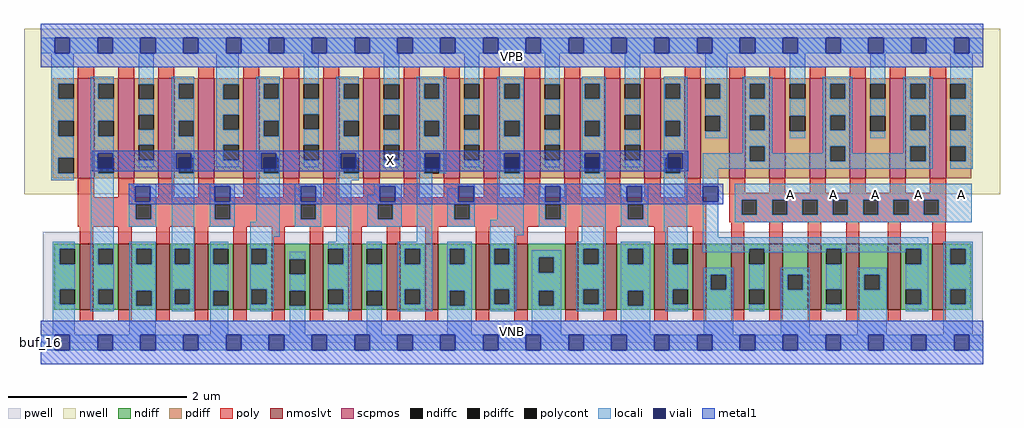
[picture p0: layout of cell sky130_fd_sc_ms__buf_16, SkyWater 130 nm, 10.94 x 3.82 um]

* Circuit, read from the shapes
.subckt sky130_fd_sc_ms__buf_16 A VGND VNB VPB VPWR X
XM1 X n1 VGND VNB sky130_fd_pr__nfet_01v8_lvt w=0.74 l=0.15 m=16
XM2 n1 A VGND VNB sky130_fd_pr__nfet_01v8_lvt w=0.74 l=0.15 m=6
XM3 X n1 VPWR VPB sky130_fd_pr__pfet_01v8 w=1.12 l=0.18 m=16
XM4 n1 A VPWR VPB sky130_fd_pr__pfet_01v8 w=1.12 l=0.18 m=6
.ends

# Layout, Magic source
magic
tech sky130A
magscale 1 2
<< nwell >>
rect -38 332 2150 704
<< pwell >>
rect 4 49 2111 248
rect 0 0 2112 49
<< scpmos >>
rect 83 368 119 592
rect 173 368 209 592
rect 263 368 299 592
rect 353 368 389 592
rect 453 368 489 592
rect 543 368 579 592
rect 633 368 669 592
rect 723 368 759 592
rect 813 368 849 592
rect 903 368 939 592
rect 993 368 1029 592
rect 1083 368 1119 592
rect 1173 368 1209 592
rect 1263 368 1299 592
rect 1353 368 1389 592
rect 1443 368 1479 592
rect 1543 368 1579 592
rect 1633 368 1669 592
rect 1723 368 1759 592
rect 1813 368 1849 592
rect 1903 368 1939 592
rect 1993 368 2029 592
<< nmoslvt >>
rect 87 74 117 222
rect 173 74 203 222
rect 259 74 289 222
rect 345 74 375 222
rect 431 74 461 222
rect 517 74 547 222
rect 603 74 633 222
rect 689 74 719 222
rect 775 74 805 222
rect 861 74 891 222
rect 975 74 1005 222
rect 1061 74 1091 222
rect 1175 74 1205 222
rect 1261 74 1291 222
rect 1375 74 1405 222
rect 1461 74 1491 222
rect 1547 74 1577 222
rect 1633 74 1663 222
rect 1719 74 1749 222
rect 1805 74 1835 222
rect 1898 74 1928 222
rect 1998 74 2028 222
<< ndiff >>
rect 30 210 87 222
rect 30 176 42 210
rect 76 176 87 210
rect 30 120 87 176
rect 30 86 42 120
rect 76 86 87 120
rect 30 74 87 86
rect 117 210 173 222
rect 117 176 128 210
rect 162 176 173 210
rect 117 120 173 176
rect 117 86 128 120
rect 162 86 173 120
rect 117 74 173 86
rect 203 210 259 222
rect 203 176 214 210
rect 248 176 259 210
rect 203 116 259 176
rect 203 82 214 116
rect 248 82 259 116
rect 203 74 259 82
rect 289 210 345 222
rect 289 176 300 210
rect 334 176 345 210
rect 289 120 345 176
rect 289 86 300 120
rect 334 86 345 120
rect 289 74 345 86
rect 375 210 431 222
rect 375 176 386 210
rect 420 176 431 210
rect 375 116 431 176
rect 375 82 386 116
rect 420 82 431 116
rect 375 74 431 82
rect 461 210 517 222
rect 461 176 472 210
rect 506 176 517 210
rect 461 120 517 176
rect 461 86 472 120
rect 506 86 517 120
rect 461 74 517 86
rect 547 187 603 222
rect 547 153 558 187
rect 592 153 603 187
rect 547 116 603 153
rect 547 82 558 116
rect 592 82 603 116
rect 547 74 603 82
rect 633 210 689 222
rect 633 176 644 210
rect 678 176 689 210
rect 633 120 689 176
rect 633 86 644 120
rect 678 86 689 120
rect 633 74 689 86
rect 719 210 775 222
rect 719 176 730 210
rect 764 176 775 210
rect 719 116 775 176
rect 719 82 730 116
rect 764 82 775 116
rect 719 74 775 82
rect 805 210 861 222
rect 805 176 816 210
rect 850 176 861 210
rect 805 120 861 176
rect 805 86 816 120
rect 850 86 861 120
rect 805 74 861 86
rect 891 210 975 222
rect 891 176 916 210
rect 950 176 975 210
rect 891 116 975 176
rect 891 82 916 116
rect 950 82 975 116
rect 891 74 975 82
rect 1005 210 1061 222
rect 1005 176 1016 210
rect 1050 176 1061 210
rect 1005 120 1061 176
rect 1005 86 1016 120
rect 1050 86 1061 120
rect 1005 74 1061 86
rect 1091 191 1175 222
rect 1091 157 1116 191
rect 1150 157 1175 191
rect 1091 116 1175 157
rect 1091 82 1116 116
rect 1150 82 1175 116
rect 1091 74 1175 82
rect 1205 210 1261 222
rect 1205 176 1216 210
rect 1250 176 1261 210
rect 1205 120 1261 176
rect 1205 86 1216 120
rect 1250 86 1261 120
rect 1205 74 1261 86
rect 1291 210 1375 222
rect 1291 176 1316 210
rect 1350 176 1375 210
rect 1291 116 1375 176
rect 1291 82 1316 116
rect 1350 82 1375 116
rect 1291 74 1375 82
rect 1405 210 1461 222
rect 1405 176 1416 210
rect 1450 176 1461 210
rect 1405 120 1461 176
rect 1405 86 1416 120
rect 1450 86 1461 120
rect 1405 74 1461 86
rect 1491 152 1547 222
rect 1491 118 1502 152
rect 1536 118 1547 152
rect 1491 74 1547 118
rect 1577 210 1633 222
rect 1577 176 1588 210
rect 1622 176 1633 210
rect 1577 120 1633 176
rect 1577 86 1588 120
rect 1622 86 1633 120
rect 1577 74 1633 86
rect 1663 152 1719 222
rect 1663 118 1674 152
rect 1708 118 1719 152
rect 1663 74 1719 118
rect 1749 210 1805 222
rect 1749 176 1760 210
rect 1794 176 1805 210
rect 1749 120 1805 176
rect 1749 86 1760 120
rect 1794 86 1805 120
rect 1749 74 1805 86
rect 1835 152 1898 222
rect 1835 118 1846 152
rect 1880 118 1898 152
rect 1835 74 1898 118
rect 1928 210 1998 222
rect 1928 176 1939 210
rect 1973 176 1998 210
rect 1928 120 1998 176
rect 1928 86 1939 120
rect 1973 86 1998 120
rect 1928 74 1998 86
rect 2028 210 2085 222
rect 2028 176 2039 210
rect 2073 176 2085 210
rect 2028 120 2085 176
rect 2028 86 2039 120
rect 2073 86 2085 120
rect 2028 74 2085 86
<< pdiff >>
rect 27 580 83 592
rect 27 546 39 580
rect 73 546 83 580
rect 27 497 83 546
rect 27 463 39 497
rect 73 463 83 497
rect 27 414 83 463
rect 27 380 39 414
rect 73 380 83 414
rect 27 368 83 380
rect 119 580 173 592
rect 119 546 129 580
rect 163 546 173 580
rect 119 497 173 546
rect 119 463 129 497
rect 163 463 173 497
rect 119 414 173 463
rect 119 380 129 414
rect 163 380 173 414
rect 119 368 173 380
rect 209 579 263 592
rect 209 545 219 579
rect 253 545 263 579
rect 209 511 263 545
rect 209 477 219 511
rect 253 477 263 511
rect 209 443 263 477
rect 209 409 219 443
rect 253 409 263 443
rect 209 368 263 409
rect 299 580 353 592
rect 299 546 309 580
rect 343 546 353 580
rect 299 497 353 546
rect 299 463 309 497
rect 343 463 353 497
rect 299 414 353 463
rect 299 380 309 414
rect 343 380 353 414
rect 299 368 353 380
rect 389 579 453 592
rect 389 545 409 579
rect 443 545 453 579
rect 389 511 453 545
rect 389 477 409 511
rect 443 477 453 511
rect 389 443 453 477
rect 389 409 409 443
rect 443 409 453 443
rect 389 368 453 409
rect 489 580 543 592
rect 489 546 499 580
rect 533 546 543 580
rect 489 497 543 546
rect 489 463 499 497
rect 533 463 543 497
rect 489 414 543 463
rect 489 380 499 414
rect 533 380 543 414
rect 489 368 543 380
rect 579 580 633 592
rect 579 546 589 580
rect 623 546 633 580
rect 579 512 633 546
rect 579 478 589 512
rect 623 478 633 512
rect 579 443 633 478
rect 579 409 589 443
rect 623 409 633 443
rect 579 368 633 409
rect 669 580 723 592
rect 669 546 679 580
rect 713 546 723 580
rect 669 497 723 546
rect 669 463 679 497
rect 713 463 723 497
rect 669 414 723 463
rect 669 380 679 414
rect 713 380 723 414
rect 669 368 723 380
rect 759 579 813 592
rect 759 545 769 579
rect 803 545 813 579
rect 759 511 813 545
rect 759 477 769 511
rect 803 477 813 511
rect 759 443 813 477
rect 759 409 769 443
rect 803 409 813 443
rect 759 368 813 409
rect 849 580 903 592
rect 849 546 859 580
rect 893 546 903 580
rect 849 497 903 546
rect 849 463 859 497
rect 893 463 903 497
rect 849 414 903 463
rect 849 380 859 414
rect 893 380 903 414
rect 849 368 903 380
rect 939 580 993 592
rect 939 546 949 580
rect 983 546 993 580
rect 939 511 993 546
rect 939 477 949 511
rect 983 477 993 511
rect 939 443 993 477
rect 939 409 949 443
rect 983 409 993 443
rect 939 368 993 409
rect 1029 580 1083 592
rect 1029 546 1039 580
rect 1073 546 1083 580
rect 1029 497 1083 546
rect 1029 463 1039 497
rect 1073 463 1083 497
rect 1029 414 1083 463
rect 1029 380 1039 414
rect 1073 380 1083 414
rect 1029 368 1083 380
rect 1119 579 1173 592
rect 1119 545 1129 579
rect 1163 545 1173 579
rect 1119 511 1173 545
rect 1119 477 1129 511
rect 1163 477 1173 511
rect 1119 443 1173 477
rect 1119 409 1129 443
rect 1163 409 1173 443
rect 1119 368 1173 409
rect 1209 580 1263 592
rect 1209 546 1219 580
rect 1253 546 1263 580
rect 1209 497 1263 546
rect 1209 463 1219 497
rect 1253 463 1263 497
rect 1209 414 1263 463
rect 1209 380 1219 414
rect 1253 380 1263 414
rect 1209 368 1263 380
rect 1299 580 1353 592
rect 1299 546 1309 580
rect 1343 546 1353 580
rect 1299 511 1353 546
rect 1299 477 1309 511
rect 1343 477 1353 511
rect 1299 443 1353 477
rect 1299 409 1309 443
rect 1343 409 1353 443
rect 1299 368 1353 409
rect 1389 580 1443 592
rect 1389 546 1399 580
rect 1433 546 1443 580
rect 1389 497 1443 546
rect 1389 463 1399 497
rect 1433 463 1443 497
rect 1389 414 1443 463
rect 1389 380 1399 414
rect 1433 380 1443 414
rect 1389 368 1443 380
rect 1479 580 1543 592
rect 1479 546 1489 580
rect 1523 546 1543 580
rect 1479 508 1543 546
rect 1479 474 1489 508
rect 1523 474 1543 508
rect 1479 368 1543 474
rect 1579 580 1633 592
rect 1579 546 1589 580
rect 1623 546 1633 580
rect 1579 510 1633 546
rect 1579 476 1589 510
rect 1623 476 1633 510
rect 1579 440 1633 476
rect 1579 406 1589 440
rect 1623 406 1633 440
rect 1579 368 1633 406
rect 1669 580 1723 592
rect 1669 546 1679 580
rect 1713 546 1723 580
rect 1669 508 1723 546
rect 1669 474 1679 508
rect 1713 474 1723 508
rect 1669 368 1723 474
rect 1759 580 1813 592
rect 1759 546 1769 580
rect 1803 546 1813 580
rect 1759 510 1813 546
rect 1759 476 1769 510
rect 1803 476 1813 510
rect 1759 440 1813 476
rect 1759 406 1769 440
rect 1803 406 1813 440
rect 1759 368 1813 406
rect 1849 580 1903 592
rect 1849 546 1859 580
rect 1893 546 1903 580
rect 1849 508 1903 546
rect 1849 474 1859 508
rect 1893 474 1903 508
rect 1849 368 1903 474
rect 1939 580 1993 592
rect 1939 546 1949 580
rect 1983 546 1993 580
rect 1939 510 1993 546
rect 1939 476 1949 510
rect 1983 476 1993 510
rect 1939 440 1993 476
rect 1939 406 1949 440
rect 1983 406 1993 440
rect 1939 368 1993 406
rect 2029 580 2085 592
rect 2029 546 2039 580
rect 2073 546 2085 580
rect 2029 510 2085 546
rect 2029 476 2039 510
rect 2073 476 2085 510
rect 2029 440 2085 476
rect 2029 406 2039 440
rect 2073 406 2085 440
rect 2029 368 2085 406
<< ndiffc >>
rect 42 176 76 210
rect 42 86 76 120
rect 128 176 162 210
rect 128 86 162 120
rect 214 176 248 210
rect 214 82 248 116
rect 300 176 334 210
rect 300 86 334 120
rect 386 176 420 210
rect 386 82 420 116
rect 472 176 506 210
rect 472 86 506 120
rect 558 153 592 187
rect 558 82 592 116
rect 644 176 678 210
rect 644 86 678 120
rect 730 176 764 210
rect 730 82 764 116
rect 816 176 850 210
rect 816 86 850 120
rect 916 176 950 210
rect 916 82 950 116
rect 1016 176 1050 210
rect 1016 86 1050 120
rect 1116 157 1150 191
rect 1116 82 1150 116
rect 1216 176 1250 210
rect 1216 86 1250 120
rect 1316 176 1350 210
rect 1316 82 1350 116
rect 1416 176 1450 210
rect 1416 86 1450 120
rect 1502 118 1536 152
rect 1588 176 1622 210
rect 1588 86 1622 120
rect 1674 118 1708 152
rect 1760 176 1794 210
rect 1760 86 1794 120
rect 1846 118 1880 152
rect 1939 176 1973 210
rect 1939 86 1973 120
rect 2039 176 2073 210
rect 2039 86 2073 120
<< pdiffc >>
rect 39 546 73 580
rect 39 463 73 497
rect 39 380 73 414
rect 129 546 163 580
rect 129 463 163 497
rect 129 380 163 414
rect 219 545 253 579
rect 219 477 253 511
rect 219 409 253 443
rect 309 546 343 580
rect 309 463 343 497
rect 309 380 343 414
rect 409 545 443 579
rect 409 477 443 511
rect 409 409 443 443
rect 499 546 533 580
rect 499 463 533 497
rect 499 380 533 414
rect 589 546 623 580
rect 589 478 623 512
rect 589 409 623 443
rect 679 546 713 580
rect 679 463 713 497
rect 679 380 713 414
rect 769 545 803 579
rect 769 477 803 511
rect 769 409 803 443
rect 859 546 893 580
rect 859 463 893 497
rect 859 380 893 414
rect 949 546 983 580
rect 949 477 983 511
rect 949 409 983 443
rect 1039 546 1073 580
rect 1039 463 1073 497
rect 1039 380 1073 414
rect 1129 545 1163 579
rect 1129 477 1163 511
rect 1129 409 1163 443
rect 1219 546 1253 580
rect 1219 463 1253 497
rect 1219 380 1253 414
rect 1309 546 1343 580
rect 1309 477 1343 511
rect 1309 409 1343 443
rect 1399 546 1433 580
rect 1399 463 1433 497
rect 1399 380 1433 414
rect 1489 546 1523 580
rect 1489 474 1523 508
rect 1589 546 1623 580
rect 1589 476 1623 510
rect 1589 406 1623 440
rect 1679 546 1713 580
rect 1679 474 1713 508
rect 1769 546 1803 580
rect 1769 476 1803 510
rect 1769 406 1803 440
rect 1859 546 1893 580
rect 1859 474 1893 508
rect 1949 546 1983 580
rect 1949 476 1983 510
rect 1949 406 1983 440
rect 2039 546 2073 580
rect 2039 476 2073 510
rect 2039 406 2073 440
<< poly >>
rect 83 592 119 618
rect 173 592 209 618
rect 263 592 299 618
rect 353 592 389 618
rect 453 592 489 618
rect 543 592 579 618
rect 633 592 669 618
rect 723 592 759 618
rect 813 592 849 618
rect 903 592 939 618
rect 993 592 1029 618
rect 1083 592 1119 618
rect 1173 592 1209 618
rect 1263 592 1299 618
rect 1353 592 1389 618
rect 1443 592 1479 618
rect 1543 592 1579 618
rect 1633 592 1669 618
rect 1723 592 1759 618
rect 1813 592 1849 618
rect 1903 592 1939 618
rect 1993 592 2029 618
rect 83 326 119 368
rect 173 326 209 368
rect 263 326 299 368
rect 353 326 389 368
rect 453 326 489 368
rect 543 326 579 368
rect 633 326 669 368
rect 723 326 759 368
rect 813 326 849 368
rect 903 326 939 368
rect 993 326 1029 368
rect 1083 326 1119 368
rect 1173 326 1209 368
rect 1263 326 1299 368
rect 1353 326 1389 368
rect 1443 326 1479 368
rect 1543 336 1579 368
rect 1633 336 1669 368
rect 1723 336 1759 368
rect 1813 336 1849 368
rect 1903 336 1939 368
rect 1993 336 2029 368
rect 83 310 1491 326
rect 83 276 213 310
rect 247 276 390 310
rect 424 276 582 310
rect 616 276 755 310
rect 789 276 927 310
rect 961 276 1131 310
rect 1165 276 1316 310
rect 1350 276 1491 310
rect 83 260 1491 276
rect 1543 320 2029 336
rect 1543 286 1571 320
rect 1605 286 1639 320
rect 1673 286 1707 320
rect 1741 286 1775 320
rect 1809 286 1843 320
rect 1877 286 1911 320
rect 1945 286 1979 320
rect 2013 286 2029 320
rect 1543 270 2029 286
rect 87 222 117 260
rect 173 222 203 260
rect 259 222 289 260
rect 345 222 375 260
rect 431 222 461 260
rect 517 222 547 260
rect 603 222 633 260
rect 689 222 719 260
rect 775 222 805 260
rect 861 222 891 260
rect 975 222 1005 260
rect 1061 222 1091 260
rect 1175 222 1205 260
rect 1261 222 1291 260
rect 1375 222 1405 260
rect 1461 222 1491 260
rect 1547 222 1577 270
rect 1633 222 1663 270
rect 1719 222 1749 270
rect 1805 222 1835 270
rect 1898 222 1928 270
rect 1998 222 2028 270
rect 87 48 117 74
rect 173 48 203 74
rect 259 48 289 74
rect 345 48 375 74
rect 431 48 461 74
rect 517 48 547 74
rect 603 48 633 74
rect 689 48 719 74
rect 775 48 805 74
rect 861 48 891 74
rect 975 48 1005 74
rect 1061 48 1091 74
rect 1175 48 1205 74
rect 1261 48 1291 74
rect 1375 48 1405 74
rect 1461 48 1491 74
rect 1547 48 1577 74
rect 1633 48 1663 74
rect 1719 48 1749 74
rect 1805 48 1835 74
rect 1898 48 1928 74
rect 1998 48 2028 74
<< polycont >>
rect 213 276 247 310
rect 390 276 424 310
rect 582 276 616 310
rect 755 276 789 310
rect 927 276 961 310
rect 1131 276 1165 310
rect 1316 276 1350 310
rect 1571 286 1605 320
rect 1639 286 1673 320
rect 1707 286 1741 320
rect 1775 286 1809 320
rect 1843 286 1877 320
rect 1911 286 1945 320
rect 1979 286 2013 320
<< locali >>
rect 0 649 31 683
rect 65 649 127 683
rect 161 649 223 683
rect 257 649 319 683
rect 353 649 415 683
rect 449 649 511 683
rect 545 649 607 683
rect 641 649 703 683
rect 737 649 799 683
rect 833 649 895 683
rect 929 649 991 683
rect 1025 649 1087 683
rect 1121 649 1183 683
rect 1217 649 1279 683
rect 1313 649 1375 683
rect 1409 649 1471 683
rect 1505 649 1567 683
rect 1601 649 1663 683
rect 1697 649 1759 683
rect 1793 649 1855 683
rect 1889 649 1951 683
rect 1985 649 2047 683
rect 2081 649 2112 683
rect 23 580 73 649
rect 23 546 39 580
rect 23 497 73 546
rect 23 463 39 497
rect 23 414 73 463
rect 23 380 39 414
rect 23 364 73 380
rect 112 580 163 596
rect 112 546 129 580
rect 112 497 163 546
rect 112 463 129 497
rect 112 424 163 463
rect 112 390 127 424
rect 161 414 163 424
rect 219 579 253 649
rect 219 511 253 545
rect 219 443 253 477
rect 219 393 253 409
rect 293 580 344 596
rect 293 546 309 580
rect 343 546 344 580
rect 293 497 344 546
rect 293 463 309 497
rect 343 463 344 497
rect 293 424 344 463
rect 112 380 129 390
rect 26 210 76 226
rect 26 176 42 210
rect 26 120 76 176
rect 26 86 42 120
rect 26 17 76 86
rect 112 210 163 380
rect 293 390 303 424
rect 337 414 344 424
rect 293 380 309 390
rect 343 380 344 414
rect 393 579 443 649
rect 393 545 409 579
rect 393 511 443 545
rect 393 477 409 511
rect 393 443 443 477
rect 393 409 409 443
rect 393 393 443 409
rect 483 580 535 596
rect 483 546 499 580
rect 533 546 535 580
rect 483 497 535 546
rect 483 463 499 497
rect 533 463 535 497
rect 483 424 535 463
rect 197 350 259 356
rect 197 316 211 350
rect 245 316 259 350
rect 197 310 259 316
rect 197 276 213 310
rect 247 276 259 310
rect 197 260 259 276
rect 112 176 128 210
rect 162 176 163 210
rect 112 120 163 176
rect 112 86 128 120
rect 162 86 163 120
rect 112 70 163 86
rect 198 210 257 226
rect 198 176 214 210
rect 248 176 257 210
rect 198 116 257 176
rect 198 82 214 116
rect 248 82 257 116
rect 198 17 257 82
rect 293 210 344 380
rect 483 390 494 424
rect 528 414 535 424
rect 483 380 499 390
rect 533 380 535 414
rect 589 580 623 649
rect 589 512 623 546
rect 589 443 623 478
rect 589 393 623 409
rect 662 580 713 596
rect 662 546 679 580
rect 662 497 713 546
rect 662 463 679 497
rect 662 424 713 463
rect 378 350 435 356
rect 378 316 390 350
rect 424 316 435 350
rect 378 310 435 316
rect 378 276 390 310
rect 424 276 435 310
rect 378 260 435 276
rect 483 271 535 380
rect 662 390 672 424
rect 706 414 713 424
rect 769 579 803 649
rect 769 511 803 545
rect 769 443 803 477
rect 769 393 803 409
rect 843 580 909 596
rect 843 546 859 580
rect 893 546 909 580
rect 843 497 909 546
rect 843 463 859 497
rect 893 463 909 497
rect 843 424 909 463
rect 843 414 860 424
rect 662 380 679 390
rect 662 364 713 380
rect 843 380 859 414
rect 894 390 909 424
rect 949 580 983 649
rect 949 511 983 546
rect 949 443 983 477
rect 949 393 983 409
rect 1023 580 1082 596
rect 1023 546 1039 580
rect 1073 546 1082 580
rect 1023 497 1082 546
rect 1023 463 1039 497
rect 1073 463 1082 497
rect 1023 424 1082 463
rect 893 380 909 390
rect 1023 380 1039 424
rect 1073 380 1082 424
rect 1129 579 1163 649
rect 1129 511 1163 545
rect 1129 443 1163 477
rect 1129 393 1163 409
rect 1212 580 1266 596
rect 1212 546 1219 580
rect 1253 546 1266 580
rect 1212 497 1266 546
rect 1212 463 1219 497
rect 1253 463 1266 497
rect 1212 424 1266 463
rect 469 237 535 271
rect 569 350 628 356
rect 569 316 582 350
rect 616 316 628 350
rect 569 310 628 316
rect 569 276 582 310
rect 616 276 628 310
rect 569 260 628 276
rect 293 176 300 210
rect 334 176 344 210
rect 293 120 344 176
rect 293 86 300 120
rect 334 86 344 120
rect 293 70 344 86
rect 379 210 420 226
rect 379 176 386 210
rect 379 116 420 176
rect 379 82 386 116
rect 379 17 420 82
rect 469 210 522 237
rect 662 226 696 364
rect 747 350 809 356
rect 747 331 760 350
rect 731 316 760 331
rect 794 316 809 350
rect 731 310 809 316
rect 731 276 755 310
rect 789 276 809 310
rect 731 260 809 276
rect 843 226 877 380
rect 935 350 973 356
rect 935 346 936 350
rect 911 316 936 346
rect 970 316 973 350
rect 911 310 973 316
rect 911 276 927 310
rect 961 276 973 310
rect 911 260 973 276
rect 1023 275 1082 380
rect 1212 380 1219 424
rect 1253 380 1266 424
rect 1309 580 1343 649
rect 1309 511 1343 546
rect 1309 443 1343 477
rect 1309 393 1343 409
rect 1396 580 1449 596
rect 1396 546 1399 580
rect 1433 546 1449 580
rect 1396 497 1449 546
rect 1396 463 1399 497
rect 1433 463 1449 497
rect 1396 424 1449 463
rect 1489 580 1539 649
rect 1523 546 1539 580
rect 1489 508 1539 546
rect 1523 474 1539 508
rect 1489 458 1539 474
rect 1573 580 1639 596
rect 1573 546 1589 580
rect 1623 546 1639 580
rect 1573 510 1639 546
rect 1573 476 1589 510
rect 1623 476 1639 510
rect 1573 440 1639 476
rect 1679 580 1713 649
rect 1679 508 1713 546
rect 1679 458 1713 474
rect 1753 580 1819 596
rect 1753 546 1769 580
rect 1803 546 1819 580
rect 1753 510 1819 546
rect 1753 476 1769 510
rect 1803 476 1819 510
rect 1573 424 1589 440
rect 1396 414 1405 424
rect 1007 241 1082 275
rect 1116 350 1178 356
rect 1116 316 1130 350
rect 1164 316 1178 350
rect 1116 310 1178 316
rect 1116 276 1131 310
rect 1165 276 1178 310
rect 1116 260 1178 276
rect 469 176 472 210
rect 506 176 522 210
rect 644 210 696 226
rect 469 120 522 176
rect 469 86 472 120
rect 506 86 522 120
rect 469 70 522 86
rect 558 187 592 203
rect 558 116 592 153
rect 558 17 592 82
rect 678 176 696 210
rect 644 120 696 176
rect 678 86 696 120
rect 644 70 696 86
rect 730 210 764 226
rect 730 116 764 176
rect 730 17 764 82
rect 800 210 877 226
rect 800 176 816 210
rect 850 176 877 210
rect 800 120 877 176
rect 800 86 816 120
rect 850 86 877 120
rect 800 70 877 86
rect 911 210 966 226
rect 911 176 916 210
rect 950 176 966 210
rect 911 116 966 176
rect 911 82 916 116
rect 950 82 966 116
rect 911 17 966 82
rect 1007 210 1066 241
rect 1212 226 1266 380
rect 1396 380 1399 414
rect 1439 390 1449 424
rect 1433 380 1449 390
rect 1300 350 1362 356
rect 1300 316 1313 350
rect 1347 316 1362 350
rect 1300 310 1362 316
rect 1300 276 1316 310
rect 1350 276 1362 310
rect 1300 260 1362 276
rect 1396 250 1449 380
rect 1484 406 1589 424
rect 1623 424 1639 440
rect 1753 440 1819 476
rect 1859 580 1893 649
rect 1859 508 1893 546
rect 1859 458 1893 474
rect 1933 580 1999 596
rect 1933 546 1949 580
rect 1983 546 1999 580
rect 1933 510 1999 546
rect 1933 476 1949 510
rect 1983 476 1999 510
rect 1753 424 1769 440
rect 1623 406 1769 424
rect 1803 424 1819 440
rect 1933 440 1999 476
rect 1933 424 1949 440
rect 1803 406 1949 424
rect 1983 406 1999 440
rect 1484 390 1999 406
rect 2039 580 2089 649
rect 2073 546 2089 580
rect 2039 510 2089 546
rect 2073 476 2089 510
rect 2039 440 2089 476
rect 2073 406 2089 440
rect 2039 390 2089 406
rect 1484 350 1518 390
rect 1007 176 1016 210
rect 1050 176 1066 210
rect 1200 210 1266 226
rect 1007 120 1066 176
rect 1007 86 1016 120
rect 1050 86 1066 120
rect 1007 70 1066 86
rect 1100 191 1166 207
rect 1100 157 1116 191
rect 1150 157 1166 191
rect 1100 116 1166 157
rect 1100 82 1116 116
rect 1150 82 1166 116
rect 1100 17 1166 82
rect 1200 176 1216 210
rect 1250 176 1266 210
rect 1200 120 1266 176
rect 1200 86 1216 120
rect 1250 86 1266 120
rect 1200 70 1266 86
rect 1300 210 1366 226
rect 1300 176 1316 210
rect 1350 176 1366 210
rect 1300 116 1366 176
rect 1300 82 1316 116
rect 1350 82 1366 116
rect 1300 17 1366 82
rect 1400 210 1450 250
rect 1400 176 1416 210
rect 1484 236 1518 316
rect 1555 320 2087 356
rect 1555 286 1571 320
rect 1605 286 1639 320
rect 1673 286 1707 320
rect 1741 286 1775 320
rect 1809 286 1843 320
rect 1877 286 1911 320
rect 1945 286 1979 320
rect 2013 286 2087 320
rect 1555 270 2087 286
rect 1484 210 1989 236
rect 1484 202 1588 210
rect 1400 120 1450 176
rect 1622 202 1760 210
rect 1400 86 1416 120
rect 1400 70 1450 86
rect 1486 152 1552 168
rect 1486 118 1502 152
rect 1536 118 1552 152
rect 1486 17 1552 118
rect 1588 120 1622 176
rect 1794 202 1939 210
rect 1588 70 1622 86
rect 1658 152 1724 168
rect 1658 118 1674 152
rect 1708 118 1724 152
rect 1658 17 1724 118
rect 1760 120 1794 176
rect 1973 176 1989 210
rect 1760 70 1794 86
rect 1830 152 1896 168
rect 1830 118 1846 152
rect 1880 118 1896 152
rect 1830 17 1896 118
rect 1939 120 1989 176
rect 1973 86 1989 120
rect 1939 70 1989 86
rect 2023 210 2089 226
rect 2023 176 2039 210
rect 2073 176 2089 210
rect 2023 120 2089 176
rect 2023 86 2039 120
rect 2073 86 2089 120
rect 2023 17 2089 86
rect 0 -17 31 17
rect 65 -17 127 17
rect 161 -17 223 17
rect 257 -17 319 17
rect 353 -17 415 17
rect 449 -17 511 17
rect 545 -17 607 17
rect 641 -17 703 17
rect 737 -17 799 17
rect 833 -17 895 17
rect 929 -17 991 17
rect 1025 -17 1087 17
rect 1121 -17 1183 17
rect 1217 -17 1279 17
rect 1313 -17 1375 17
rect 1409 -17 1471 17
rect 1505 -17 1567 17
rect 1601 -17 1663 17
rect 1697 -17 1759 17
rect 1793 -17 1855 17
rect 1889 -17 1951 17
rect 1985 -17 2047 17
rect 2081 -17 2112 17
<< viali >>
rect 31 649 65 683
rect 127 649 161 683
rect 223 649 257 683
rect 319 649 353 683
rect 415 649 449 683
rect 511 649 545 683
rect 607 649 641 683
rect 703 649 737 683
rect 799 649 833 683
rect 895 649 929 683
rect 991 649 1025 683
rect 1087 649 1121 683
rect 1183 649 1217 683
rect 1279 649 1313 683
rect 1375 649 1409 683
rect 1471 649 1505 683
rect 1567 649 1601 683
rect 1663 649 1697 683
rect 1759 649 1793 683
rect 1855 649 1889 683
rect 1951 649 1985 683
rect 2047 649 2081 683
rect 127 414 161 424
rect 127 390 129 414
rect 129 390 161 414
rect 303 414 337 424
rect 303 390 309 414
rect 309 390 337 414
rect 211 316 245 350
rect 494 414 528 424
rect 494 390 499 414
rect 499 390 528 414
rect 390 316 424 350
rect 672 414 706 424
rect 672 390 679 414
rect 679 390 706 414
rect 860 414 894 424
rect 860 390 893 414
rect 893 390 894 414
rect 1039 414 1073 424
rect 1039 390 1073 414
rect 582 316 616 350
rect 760 316 794 350
rect 936 316 970 350
rect 1219 414 1253 424
rect 1219 390 1253 414
rect 1405 414 1439 424
rect 1130 316 1164 350
rect 1405 390 1433 414
rect 1433 390 1439 414
rect 1313 316 1347 350
rect 1484 316 1518 350
rect 31 -17 65 17
rect 127 -17 161 17
rect 223 -17 257 17
rect 319 -17 353 17
rect 415 -17 449 17
rect 511 -17 545 17
rect 607 -17 641 17
rect 703 -17 737 17
rect 799 -17 833 17
rect 895 -17 929 17
rect 991 -17 1025 17
rect 1087 -17 1121 17
rect 1183 -17 1217 17
rect 1279 -17 1313 17
rect 1375 -17 1409 17
rect 1471 -17 1505 17
rect 1567 -17 1601 17
rect 1663 -17 1697 17
rect 1759 -17 1793 17
rect 1855 -17 1889 17
rect 1951 -17 1985 17
rect 2047 -17 2081 17
<< metal1 >>
rect 0 683 2112 715
rect 0 649 31 683
rect 65 649 127 683
rect 161 649 223 683
rect 257 649 319 683
rect 353 649 415 683
rect 449 649 511 683
rect 545 649 607 683
rect 641 649 703 683
rect 737 649 799 683
rect 833 649 895 683
rect 929 649 991 683
rect 1025 649 1087 683
rect 1121 649 1183 683
rect 1217 649 1279 683
rect 1313 649 1375 683
rect 1409 649 1471 683
rect 1505 649 1567 683
rect 1601 649 1663 683
rect 1697 649 1759 683
rect 1793 649 1855 683
rect 1889 649 1951 683
rect 1985 649 2047 683
rect 2081 649 2112 683
rect 0 617 2112 649
rect 115 424 1451 430
rect 115 390 127 424
rect 161 390 303 424
rect 337 390 494 424
rect 528 390 672 424
rect 706 390 860 424
rect 894 390 1039 424
rect 1073 390 1219 424
rect 1253 390 1405 424
rect 1439 390 1451 424
rect 115 384 1451 390
rect 197 350 1530 356
rect 197 316 211 350
rect 245 316 390 350
rect 424 316 582 350
rect 616 316 760 350
rect 794 316 936 350
rect 970 316 1130 350
rect 1164 316 1313 350
rect 1347 316 1484 350
rect 1518 316 1530 350
rect 197 310 1530 316
rect 0 17 2112 49
rect 0 -17 31 17
rect 65 -17 127 17
rect 161 -17 223 17
rect 257 -17 319 17
rect 353 -17 415 17
rect 449 -17 511 17
rect 545 -17 607 17
rect 641 -17 703 17
rect 737 -17 799 17
rect 833 -17 895 17
rect 929 -17 991 17
rect 1025 -17 1087 17
rect 1121 -17 1183 17
rect 1217 -17 1279 17
rect 1313 -17 1375 17
rect 1409 -17 1471 17
rect 1505 -17 1567 17
rect 1601 -17 1663 17
rect 1697 -17 1759 17
rect 1793 -17 1855 17
rect 1889 -17 1951 17
rect 1985 -17 2047 17
rect 2081 -17 2112 17
rect 0 -49 2112 -17
<< labels >>
flabel pwell s 0 0 2112 49 0 FreeSans 200 0 0 0 VNB
port 3 nsew ground bidirectional
flabel nwell s 0 617 2112 666 0 FreeSans 200 0 0 0 VPB
port 4 nsew power bidirectional
rlabel comment s 0 0 0 0 4 buf_16
flabel metal1 s 115 384 1451 430 0 FreeSans 400 0 0 0 X
port 6 nsew signal output
flabel metal1 s 0 617 2112 666 0 FreeSans 340 0 0 0 VPWR
port 5 nsew power bidirectional
flabel metal1 s 0 0 2112 49 0 FreeSans 340 0 0 0 VGND
port 2 nsew ground bidirectional
flabel locali s 1663 316 1697 350 0 FreeSans 340 0 0 0 A
port 1 nsew signal input
flabel locali s 1759 316 1793 350 0 FreeSans 340 0 0 0 A
port 1 nsew signal input
flabel locali s 1855 316 1889 350 0 FreeSans 340 0 0 0 A
port 1 nsew signal input
flabel locali s 1951 316 1985 350 0 FreeSans 340 0 0 0 A
port 1 nsew signal input
flabel locali s 2047 316 2081 350 0 FreeSans 340 0 0 0 A
port 1 nsew signal input
<< properties >>
string LEFsite unit
string LEFclass CORE
string FIXED_BBOX 0 0 2112 666
string GDS_FILE $PDKPATH/libs.ref/sky130_fd_sc_ms/gds/sky130_fd_sc_ms.gds
string LEFsymmetry X Y
string GDS_END 3006562
string GDS_START 2988786
<< end >>
